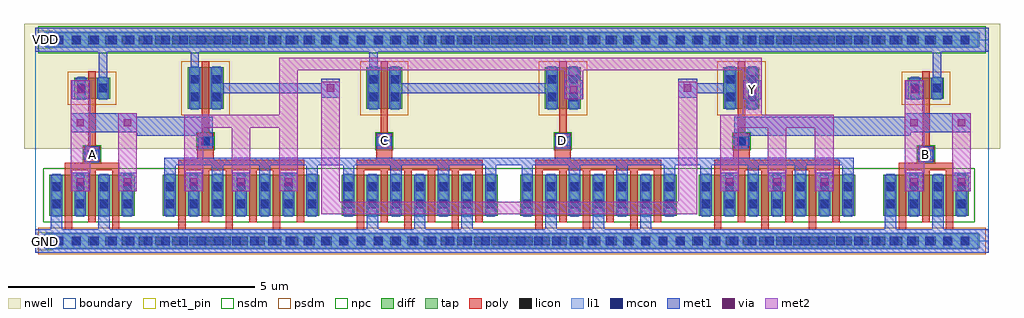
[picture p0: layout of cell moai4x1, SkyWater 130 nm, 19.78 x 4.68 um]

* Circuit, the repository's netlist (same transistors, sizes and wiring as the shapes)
** sch_path: /foss/designs/moai4x1.sch
.subckt moai4x1 A VDD GND B D C Y
*.PININFO A:I VDD:B GND:B B:I D:I C:I Y:O
XM9 Anot A GND GND sky130_fd_pr__nfet_01v8 L=0.15 W=2.52 nf=3
XM10 Anot A VDD VDD sky130_fd_pr__pfet_01v8 L=0.15 W=0.42 nf=1
XM4 Y Anot net3 GND sky130_fd_pr__nfet_01v8 L=0.15 W=5.04 nf=6
XM7 net1 Anot VDD VDD sky130_fd_pr__pfet_01v8 L=0.15 W=0.84 nf=1
XM1 Y Bnot net1 VDD sky130_fd_pr__pfet_01v8 L=0.15 W=0.84 nf=1
XM2 Y D net2 VDD sky130_fd_pr__pfet_01v8 L=0.15 W=0.84 nf=1
XM8 net2 C VDD VDD sky130_fd_pr__pfet_01v8 L=0.15 W=0.84 nf=1
XM11 Bnot B VDD VDD sky130_fd_pr__pfet_01v8 L=0.15 W=0.42 nf=1
XM12 Bnot B GND GND sky130_fd_pr__nfet_01v8 L=0.15 W=2.52 nf=3
XM3 net3 C GND GND sky130_fd_pr__nfet_01v8 L=0.15 W=5.04 nf=6
XM5 net3 D GND GND sky130_fd_pr__nfet_01v8 L=0.15 W=5.04 nf=6
XM6 Y Bnot net3 GND sky130_fd_pr__nfet_01v8 L=0.15 W=5.04 nf=6
.ends

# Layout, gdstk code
import gdstk
lib = gdstk.Library(unit=1e-6, precision=1e-09)
def R(c, l, rs):  # rectangles x0, y0, x1, y1
    for r in rs: c.add(gdstk.rectangle(r[:2], r[2:], *l))
def A(c, l, x, y, w, h, nx, ny, dx, dy):  # array of equal rectangles
    R(c, l, [(x+i*dx, y+j*dy, x+i*dx+w, y+j*dy+h) for i in range(nx) for j in range(ny)])
nwell = (64, 20)
diff = (65, 20)
tap = (65, 44)
poly = (66, 20)
licon = (66, 44)
li1 = (67, 20)
mcon = (67, 44)
met1_pin = (68, 16)
met1 = (68, 20)
via = (68, 44)
met2 = (69, 20)
nsdm = (93, 44)
psdm = (94, 20)
npc = (95, 20)
boundary = (235, 4)

sky130_fd_pr__pfet_01v8_ = lib.new_cell('sky130_fd_pr__pfet_01v8_YNU6YZ')
R(sky130_fd_pr__pfet_01v8_, nwell, [(-0.545,-0.52,0.545,0.52)])
R(sky130_fd_pr__pfet_01v8_, diff, [(-0.365,-0.21,0.365,0.21)])
R(sky130_fd_pr__pfet_01v8_, poly, [(-0.075,-0.34,0.075,0.34)])
R(sky130_fd_pr__pfet_01v8_, licon, [(-0.305,-0.085,-0.135,0.085), (0.135,-0.085,0.305,0.085)])
R(sky130_fd_pr__pfet_01v8_, li1, [(-0.305,-0.23,-0.135,0.23), (0.135,-0.23,0.305,0.23)])
R(sky130_fd_pr__pfet_01v8_, mcon, [(-0.305,-0.085,-0.135,0.085), (0.135,-0.085,0.305,0.085)])
R(sky130_fd_pr__pfet_01v8_, met1, [(-0.335,-0.21,-0.105,0.21), (0.105,-0.21,0.335,0.21)])
R(sky130_fd_pr__pfet_01v8_, psdm, [(-0.49,-0.335,0.49,0.335)])
sky130_fd_pr__pfet_01v8_.add(gdstk.Label('D', (-0.22,0), layer=67, texttype=5))
sky130_fd_pr__pfet_01v8_.add(gdstk.Label('S', (0.22,0), layer=67, texttype=5))

c_sky130_fd_pr__pfet_01v8_ = lib.new_cell('sky130_fd_pr__pfet_01v8_W5J8BK')
R(c_sky130_fd_pr__pfet_01v8_, nwell, [(-0.545,-0.73,0.545,0.73)])
R(c_sky130_fd_pr__pfet_01v8_, diff, [(-0.365,-0.42,0.365,0.42)])
R(c_sky130_fd_pr__pfet_01v8_, poly, [(-0.075,-0.55,0.075,0.55)])
R(c_sky130_fd_pr__pfet_01v8_, licon, [(-0.305,-0.255,-0.135,-0.085), (0.135,-0.255,0.305,-0.085), (-0.305,0.085,-0.135,0.255), (0.135,0.085,0.305,0.255)])
R(c_sky130_fd_pr__pfet_01v8_, li1, [(-0.305,-0.44,-0.135,0.44), (0.135,-0.44,0.305,0.44)])
R(c_sky130_fd_pr__pfet_01v8_, mcon, [(-0.305,-0.265,-0.135,-0.095), (0.135,-0.265,0.305,-0.095), (-0.305,0.095,-0.135,0.265), (0.135,0.095,0.305,0.265)])
R(c_sky130_fd_pr__pfet_01v8_, met1, [(-0.335,-0.42,-0.105,0.42), (0.105,-0.42,0.335,0.42)])
R(c_sky130_fd_pr__pfet_01v8_, psdm, [(-0.49,-0.545,0.49,0.545)])
c_sky130_fd_pr__pfet_01v8_.add(gdstk.Label('D', (-0.22,0), layer=67, texttype=5))
c_sky130_fd_pr__pfet_01v8_.add(gdstk.Label('S', (0.22,0), layer=67, texttype=5))

sky130_fd_pr__nfet_01v8_ = lib.new_cell('sky130_fd_pr__nfet_01v8_RPKUUV')
R(sky130_fd_pr__nfet_01v8_, diff, [(-0.865,-0.42,0.865,0.42)])
R(sky130_fd_pr__nfet_01v8_, poly, [(-0.555,-0.695,-0.405,0.55), (0.405,-0.695,0.555,0.55), (-0.075,-0.55,0.075,0.695)])
A(sky130_fd_pr__nfet_01v8_, licon, -0.805, -0.255, 0.17, 0.17, 4, 2, 0.48, 0.34)
A(sky130_fd_pr__nfet_01v8_, li1, -0.805, -0.44, 0.17, 0.88, 4, 1, 0.48, 0)
A(sky130_fd_pr__nfet_01v8_, mcon, -0.805, -0.265, 0.17, 0.17, 4, 2, 0.48, 0.36)
A(sky130_fd_pr__nfet_01v8_, met1, -0.835, -0.42, 0.23, 0.84, 4, 1, 0.48, 0)
R(sky130_fd_pr__nfet_01v8_, nsdm, [(-0.99,-0.545,0.99,0.545)])
sky130_fd_pr__nfet_01v8_.add(gdstk.Label('D0', (-0.72,0), layer=67, texttype=5))
sky130_fd_pr__nfet_01v8_.add(gdstk.Label('S1', (-0.24,0), layer=67, texttype=5))
sky130_fd_pr__nfet_01v8_.add(gdstk.Label('D2', (0.24,0), layer=67, texttype=5))
sky130_fd_pr__nfet_01v8_.add(gdstk.Label('S2', (0.72,0), layer=67, texttype=5))

c_sky130_fd_pr__nfet_01v8_ = lib.new_cell('sky130_fd_pr__nfet_01v8_6WXBLA')
R(c_sky130_fd_pr__nfet_01v8_, diff, [(-1.585,-0.42,1.585,0.42)])
A(c_sky130_fd_pr__nfet_01v8_, poly, -1.275, -0.695, 0.15, 1.245, 3, 1, 0.96, 0)
A(c_sky130_fd_pr__nfet_01v8_, poly, -0.795, -0.55, 0.15, 1.245, 3, 1, 0.96, 0)
A(c_sky130_fd_pr__nfet_01v8_, licon, -1.525, -0.255, 0.17, 0.17, 7, 2, 0.48, 0.34)
A(c_sky130_fd_pr__nfet_01v8_, li1, -1.525, -0.44, 0.17, 0.88, 7, 1, 0.48, 0)
A(c_sky130_fd_pr__nfet_01v8_, mcon, -1.525, -0.265, 0.17, 0.17, 7, 2, 0.48, 0.36)
A(c_sky130_fd_pr__nfet_01v8_, met1, -1.555, -0.42, 0.23, 0.84, 7, 1, 0.48, 0)
R(c_sky130_fd_pr__nfet_01v8_, nsdm, [(-1.71,-0.545,1.71,0.545)])
c_sky130_fd_pr__nfet_01v8_.add(gdstk.Label('D0', (-1.44,0), layer=67, texttype=5))
c_sky130_fd_pr__nfet_01v8_.add(gdstk.Label('S1', (-0.96,0), layer=67, texttype=5))
c_sky130_fd_pr__nfet_01v8_.add(gdstk.Label('D2', (-0.48,0), layer=67, texttype=5))
c_sky130_fd_pr__nfet_01v8_.add(gdstk.Label('S3', (0,0), layer=67, texttype=5))
c_sky130_fd_pr__nfet_01v8_.add(gdstk.Label('D4', (0.48,0), layer=67, texttype=5))
c_sky130_fd_pr__nfet_01v8_.add(gdstk.Label('S5', (0.96,0), layer=67, texttype=5))

moai4x1 = lib.new_cell('moai4x1')
R(moai4x1, nwell, [(-0.23,1.87,19.55,4.41)])
R(moai4x1, tap, [(0.18,-0.145,19.14,0.145), (0.18,3.935,19.14,4.225)])
A(moai4x1, poly, 2.895, 1.44, 2.55, 0.21, 4, 1, 3.62, 0)
A(moai4x1, poly, 3.285, 1.65, 0.33, 0.54, 4, 1, 3.62, 0)
A(moai4x1, poly, 3.375, 2.19, 0.15, 0.61, 4, 1, 3.62, 0)
R(moai4x1, poly, [(0.595,1.44,1.705,1.59), (17.495,1.44,18.605,1.59), (0.985,1.59,1.315,1.92), (17.885,1.59,18.215,1.92), (1.075,1.92,1.225,2.95), (17.975,1.92,18.125,2.95)])
A(moai4x1, licon, 0.395, -0.085, 0.17, 0.17, 55, 2, 0.34, 4.08)
A(moai4x1, licon, 3.365, 1.94, 0.17, 0.17, 4, 1, 3.62, 0)
R(moai4x1, licon, [(1.065,1.67,1.235,1.84), (17.965,1.67,18.135,1.84)])
A(moai4x1, li1, 3.285, 1.93, 0.33, 0.19, 4, 1, 3.62, 0)
R(moai4x1, li1, [(0.21,-0.165,19.11,0.165), (0.985,1.66,1.315,1.85), (17.885,1.66,18.215,1.85), (0.21,3.915,19.11,4.245)])
A(moai4x1, mcon, 0.395, -0.085, 0.17, 0.17, 52, 2, 0.36, 4.08)
A(moai4x1, mcon, 3.365, 1.94, 0.17, 0.17, 4, 1, 3.62, 0)
R(moai4x1, mcon, [(1.065,1.67,1.235,1.84), (17.965,1.67,18.135,1.84)])
R(moai4x1, met1_pin, [(0.05,-0.18,0.35,0.18), (1,1.6,1.3,1.92), (17.9,1.6,18.2,1.92), (6.92,1.87,7.22,2.19), (10.54,1.87,10.84,2.19), (14.35,2.88,14.71,3.26), (0.05,3.9,0.35,4.26)])
A(moai4x1, met1, 6.715, 0.24, 0.23, 0.36, 3, 1, 0.96, 0)
A(moai4x1, met1, 10.335, 0.24, 0.23, 0.36, 3, 1, 0.96, 0)
A(moai4x1, met1, 3.02, 1.01, 0.38, 0.38, 3, 1, 0.96, 0)
A(moai4x1, met1, 13.88, 1.01, 0.38, 0.38, 3, 1, 0.96, 0)
A(moai4x1, met1, 2.615, 1.25, 0.23, 0.29, 4, 1, 0.96, 0)
A(moai4x1, met1, 6.235, 1.25, 0.23, 0.29, 4, 1, 0.96, 0)
A(moai4x1, met1, 9.855, 1.25, 0.23, 0.29, 4, 1, 0.96, 0)
A(moai4x1, met1, 13.475, 1.25, 0.23, 0.29, 4, 1, 0.96, 0)
R(moai4x1, met1, [(0,-0.24,19.32,0.24), (0.315,0.24,0.545,0.6), (1.275,0.24,1.505,0.6), (17.215,0.24,17.445,0.6), (18.175,0.24,18.405,0.6), (0.72,1.01,1.1,1.39), (1.68,1.01,2.06,1.39), (17.62,1.01,18,1.39), (18.58,1.01,18.96,1.39), (2.615,1.54,16.585,1.69), (1,1.6,1.3,1.92), (17.9,1.6,18.2,1.92), (3.3,1.87,3.6,2.14), (6.92,1.87,7.22,2.19), (10.54,1.87,10.84,2.19), (14.16,1.87,14.46,2.14), (2.06,2.14,3.6,2.21), (14.16,2.14,17.74,2.21), (0.72,2.21,3.6,2.52), (14.16,2.21,18.96,2.52), (0.72,2.52,2.06,2.59), (17.62,2.52,18.96,2.59), (0.74,2.88,1.1,3.26), (10.73,2.88,11.09,3.26), (14.35,2.88,14.71,3.26), (17.64,2.88,18,3.26), (5.79,2.91,6.17,3), (13.03,2.91,13.41,3), (3.555,3,6.17,3.2), (7.175,3,10.585,3.2), (13.03,3,14.205,3.2), (5.79,3.2,6.17,3.29), (13.03,3.2,13.41,3.29), (1.285,3.25,1.455,3.84), (18.185,3.25,18.355,3.84), (3.145,3.4,3.315,3.84), (6.765,3.4,6.935,3.84), (0,3.84,19.32,4.32)])
A(moai4x1, via, 3.135, 1.125, 0.15, 0.15, 3, 1, 0.96, 0)
A(moai4x1, via, 13.995, 1.125, 0.15, 0.15, 3, 1, 0.96, 0)
R(moai4x1, via, [(0.835,1.125,0.985,1.275), (1.795,1.125,1.945,1.275), (17.735,1.125,17.885,1.275), (18.695,1.125,18.845,1.275), (0.835,2.325,0.985,2.475), (1.795,2.325,1.945,2.475), (17.735,2.325,17.885,2.475), (18.695,2.325,18.845,2.475), (0.845,2.995,0.995,3.145), (10.835,2.995,10.985,3.145), (14.455,2.995,14.605,3.145), (17.745,2.995,17.895,3.145), (5.905,3.025,6.055,3.175), (13.145,3.025,13.295,3.175)])
A(moai4x1, met2, 3.02, 1.01, 0.38, 1.29, 3, 1, 0.96, 0)
A(moai4x1, met2, 13.88, 1.01, 0.38, 1.29, 3, 1, 0.96, 0)
R(moai4x1, met2, [(5.79,0.54,13.41,0.8), (5.79,0.8,6.17,3.23), (13.03,0.8,13.41,3.23), (0.72,1.01,1.11,3.26), (1.68,1.01,2.06,2.59), (17.62,1.01,18.01,3.26), (18.58,1.01,18.96,2.59), (3.02,2.3,5.32,2.56), (13.88,2.3,16.18,2.56), (4.94,2.56,5.32,3.46), (14.34,2.56,14.72,3.46), (10.72,2.88,11.1,3.46), (4.94,3.46,14.72,3.72)])
A(moai4x1, nsdm, 5.88, 0.385, 0.2, 1.09, 3, 1, 3.62, 0)
R(moai4x1, nsdm, [(2.14,0.385,2.46,1.475), (16.74,0.385,17.06,1.475), (0.055,3.81,19.265,4.35)])
R(moai4x1, psdm, [(0.055,-0.27,19.265,0.27)])
A(moai4x1, npc, 3.265, 1.84, 0.37, 0.37, 4, 1, 3.62, 0)
R(moai4x1, npc, [(0.965,1.57,1.335,1.94), (17.865,1.57,18.235,1.94)])
R(moai4x1, boundary, [(0,0,19.32,4.08)])
moai4x1.add(gdstk.Reference(sky130_fd_pr__pfet_01v8_, (18.05,3.1)))
moai4x1.add(gdstk.Reference(sky130_fd_pr__pfet_01v8_, (1.15,3.1)))
moai4x1.add(gdstk.Reference(c_sky130_fd_pr__pfet_01v8_, (7.07,3.1)))
moai4x1.add(gdstk.Reference(c_sky130_fd_pr__pfet_01v8_, (3.45,3.1)))
moai4x1.add(gdstk.Reference(c_sky130_fd_pr__pfet_01v8_, (10.69,3.1)))
moai4x1.add(gdstk.Reference(c_sky130_fd_pr__pfet_01v8_, (14.31,3.1)))
moai4x1.add(gdstk.Reference(sky130_fd_pr__nfet_01v8_, (18.05,0.93)))
moai4x1.add(gdstk.Reference(sky130_fd_pr__nfet_01v8_, (1.15,0.93)))
moai4x1.add(gdstk.Reference(c_sky130_fd_pr__nfet_01v8_, (15.03,0.93)))
moai4x1.add(gdstk.Reference(c_sky130_fd_pr__nfet_01v8_, (11.41,0.93)))
moai4x1.add(gdstk.Reference(c_sky130_fd_pr__nfet_01v8_, (4.17,0.93)))
moai4x1.add(gdstk.Reference(c_sky130_fd_pr__nfet_01v8_, (7.79,0.93)))
moai4x1.add(gdstk.Label('A', (1.15,1.76), layer=68, texttype=5))
moai4x1.add(gdstk.Label('B', (18.05,1.76), layer=68, texttype=5))
moai4x1.add(gdstk.Label('C', (7.07,2.03), layer=68, texttype=5))
moai4x1.add(gdstk.Label('D', (10.69,2.03), layer=68, texttype=5))
moai4x1.add(gdstk.Label('Y', (14.53,3.07), layer=68, texttype=5))
moai4x1.add(gdstk.Label('VDD', (0.2,4.08), layer=68, texttype=5))
moai4x1.add(gdstk.Label('GND', (0.2,0), layer=68, texttype=5))

lib.write_gds('moai4x1.gds')
